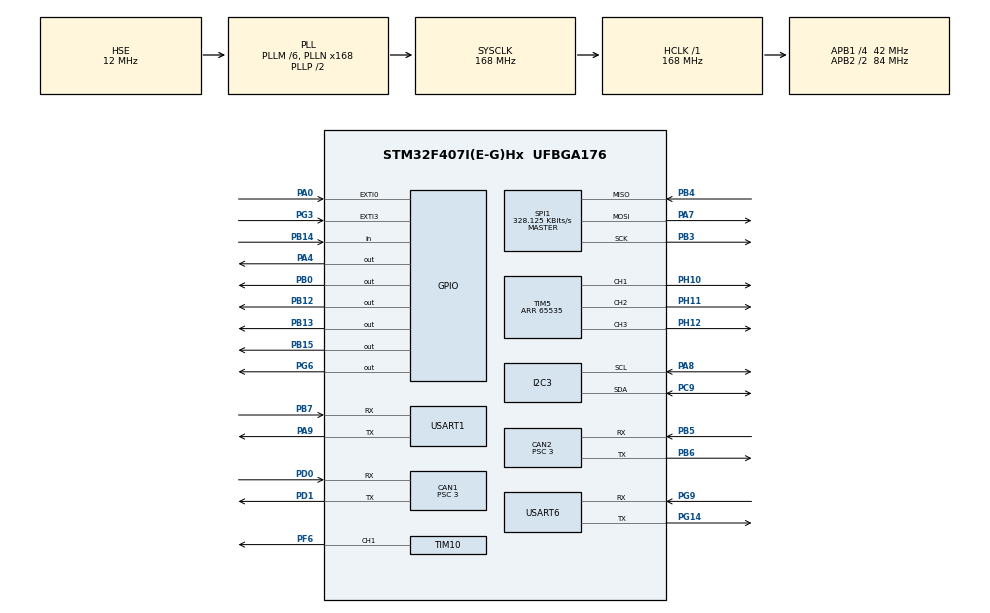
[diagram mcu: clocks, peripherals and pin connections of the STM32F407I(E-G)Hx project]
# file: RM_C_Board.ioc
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CAN1.BS1=CAN_BS1_10TQ
CAN1.BS2=CAN_BS2_3TQ
CAN1.CalculateBaudRate=1000000
CAN1.CalculateTimeBit=1000
CAN1.CalculateTimeQuantum=71.42857142857143
CAN1.Prescaler=3
CAN2.BS1=CAN_BS1_10TQ
CAN2.BS2=CAN_BS2_3TQ
CAN2.CalculateBaudRate=1000000
CAN2.CalculateTimeBit=1000
CAN2.CalculateTimeQuantum=71.42857142857143
CAN2.Prescaler=3
Dma.Request0=USART1_TX
Dma.Request1=USART6_TX
Dma.USART1_TX.0.Direction=DMA_MEMORY_TO_PERIPH
Dma.USART1_TX.0.FIFOMode=DMA_FIFOMODE_DISABLE
Dma.USART1_TX.0.Instance=DMA2_Stream7
Dma.USART1_TX.0.MemDataAlignment=DMA_MDATAALIGN_BYTE
Dma.USART1_TX.0.MemInc=DMA_MINC_ENABLE
Dma.USART1_TX.0.Mode=DMA_NORMAL
Dma.USART1_TX.0.PeriphDataAlignment=DMA_PDATAALIGN_BYTE
Dma.USART1_TX.0.PeriphInc=DMA_PINC_DISABLE
Dma.USART1_TX.0.Priority=DMA_PRIORITY_VERY_HIGH
Dma.USART6_TX.1.Direction=DMA_MEMORY_TO_PERIPH
Dma.USART6_TX.1.FIFOMode=DMA_FIFOMODE_DISABLE
Dma.USART6_TX.1.Instance=DMA2_Stream6
Dma.USART6_TX.1.MemDataAlignment=DMA_MDATAALIGN_BYTE
Dma.USART6_TX.1.MemInc=DMA_MINC_ENABLE
Dma.USART6_TX.1.Mode=DMA_NORMAL
Dma.USART6_TX.1.PeriphDataAlignment=DMA_PDATAALIGN_BYTE
Dma.USART6_TX.1.PeriphInc=DMA_PINC_DISABLE
Dma.USART6_TX.1.Priority=DMA_PRIORITY_VERY_HIGH
Mcu.Family=STM32F4
Mcu.Name=STM32F407I(E-G)Hx
Mcu.Package=UFBGA176
NVIC.CAN1_RX0_IRQn=true\:0\:0\:false\:false\:true\:true\:true\:true
NVIC.DMA2_Stream6_IRQn=true\:0\:0\:false\:false\:true\:false\:true\:true
NVIC.DMA2_Stream7_IRQn=true\:0\:0\:false\:false\:true\:false\:true\:true
NVIC.EXTI0_IRQn=true\:0\:0\:false\:false\:true\:true\:true\:true
NVIC.EXTI3_IRQn=true\:0\:0\:false\:false\:true\:true\:true\:true
NVIC.PriorityGroup=NVIC_PRIORITYGROUP_4
NVIC.TIM1_UP_TIM10_IRQn=true\:0\:0\:false\:false\:true\:true\:true\:true
NVIC.TIM4_IRQn=true\:0\:0\:false\:false\:true\:true\:true\:true
NVIC.TIM8_UP_TIM13_IRQn=true\:0\:0\:false\:false\:true\:true\:true\:true
NVIC.USART1_IRQn=true\:0\:0\:false\:false\:true\:true\:true\:true
NVIC.USART6_IRQn=true\:0\:0\:false\:false\:true\:true\:true\:true
PA0-WKUP.GPIO_ModeDefaultEXTI=GPIO_MODE_IT_FALLING
PA0-WKUP.GPIO_PuPd=GPIO_PULLUP
PA0-WKUP.Signal=GPXTI0
PA13.Mode=Serial_Wire
PA13.Signal=SYS_JTMS-SWDIO
PA14.Mode=Serial_Wire
PA14.Signal=SYS_JTCK-SWCLK
PA4.Signal=GPIO_Output
PA7.Mode=Full_Duplex_Master
PA7.Signal=SPI1_MOSI
PA8.Mode=I2C
PA8.Signal=I2C3_SCL
PA9.Mode=Asynchronous
PA9.Signal=USART1_TX
PB0.Signal=GPIO_Output
PB12.GPIO_PuPd=GPIO_NOPULL
PB12.Signal=GPIO_Output
PB13.GPIO_PuPd=GPIO_NOPULL
PB13.Signal=GPIO_Output
PB14.GPIO_PuPd=GPIO_PULLUP
PB14.Signal=GPIO_Input
PB15.GPIO_PuPd=GPIO_NOPULL
PB15.Signal=GPIO_Output
PB3.Mode=Full_Duplex_Master
PB3.Signal=SPI1_SCK
PB4.Mode=Full_Duplex_Master
PB4.Signal=SPI1_MISO
PB5.Mode=CAN_Activate
PB5.Signal=CAN2_RX
PB6.Mode=CAN_Activate
PB6.Signal=CAN2_TX
PB7.Mode=Asynchronous
PB7.Signal=USART1_RX
PC9.Mode=I2C
PC9.Signal=I2C3_SDA
PD0.Mode=CAN_Activate
PD0.Signal=CAN1_RX
PD1.Mode=CAN_Activate
PD1.Signal=CAN1_TX
PF6.Signal=S_TIM10_CH1
PG14.Mode=Asynchronous
PG14.Signal=USART6_TX
PG3.Signal=GPXTI3
PG6.Signal=GPIO_Output
PG9.Mode=Asynchronous
PG9.Signal=USART6_RX
PH0-OSC_IN.Mode=HSE-External-Oscillator
PH0-OSC_IN.Signal=RCC_OSC_IN
PH1-OSC_OUT.Mode=HSE-External-Oscillator
PH1-OSC_OUT.Signal=RCC_OSC_OUT
PH10.Signal=S_TIM5_CH1
PH11.Signal=S_TIM5_CH2
PH12.Signal=S_TIM5_CH3
ProjectManager.HeapSize=0x200
ProjectManager.StackSize=0x400
ProjectManager.TargetToolchain=MDK-ARM V5.32
RCC.48MHZClocksFreq_Value=84000000
RCC.AHBFreq_Value=168000000
RCC.APB1CLKDivider=RCC_HCLK_DIV4
RCC.APB1Freq_Value=42000000
RCC.APB1TimFreq_Value=84000000
RCC.APB2CLKDivider=RCC_HCLK_DIV2
RCC.APB2Freq_Value=84000000
RCC.APB2TimFreq_Value=168000000
RCC.CortexFreq_Value=168000000
RCC.HCLKFreq_Value=168000000
RCC.HSE_VALUE=12000000
RCC.HSI_VALUE=16000000
RCC.LSE_VALUE=32768
RCC.PLLM=6
RCC.PLLN=168
RCC.PLLSourceVirtual=RCC_PLLSOURCE_HSE
RCC.SYSCLKFreq_VALUE=168000000
RCC.SYSCLKSource=RCC_SYSCLKSOURCE_PLLCLK
RCC.VCOOutputFreq_Value=336000000
SH.S_TIM10_CH1.0=TIM10_CH1,PWM Generation1 CH1
SH.S_TIM5_CH1.0=TIM5_CH1,PWM Generation1 CH1
SH.S_TIM5_CH2.0=TIM5_CH2,PWM Generation2 CH2
SH.S_TIM5_CH3.0=TIM5_CH3,PWM Generation3 CH3
SPI1.BaudRatePrescaler=SPI_BAUDRATEPRESCALER_256
SPI1.CLKPhase=SPI_PHASE_2EDGE
SPI1.CLKPolarity=SPI_POLARITY_HIGH
SPI1.CalculateBaudRate=328.125 KBits/s
SPI1.Direction=SPI_DIRECTION_2LINES
SPI1.Mode=SPI_MODE_MASTER
SPI1.VirtualType=VM_MASTER
TIM1.Period=10-1
TIM1.Prescaler=16800-1
TIM10.Channel=TIM_CHANNEL_1
TIM10.Period=4999
TIM4.Period=10-1
TIM4.Prescaler=16800-1
TIM5.Channel-PWM\ Generation1\ CH1=TIM_CHANNEL_1
TIM5.Channel-PWM\ Generation2\ CH2=TIM_CHANNEL_2
TIM5.Channel-PWM\ Generation3\ CH3=TIM_CHANNEL_3
TIM5.Period=65535
TIM8.Period=10-1
TIM8.Prescaler=16800-1
USART1.VirtualMode=VM_ASYNC
USART6.VirtualMode=VM_ASYNC
VP_TIM10_VS_ClockSourceINT.Mode=Enable_Timer
VP_TIM1_VS_ClockSourceINT.Mode=Internal
VP_TIM4_VS_ClockSourceINT.Mode=Internal
VP_TIM5_VS_ClockSourceINT.Mode=Internal
VP_TIM8_VS_ClockSourceINT.Mode=Internal
board=custom

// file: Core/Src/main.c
/* USER CODE BEGIN Header */
/**
  ******************************************************************************
  * @file           : main.c
  * @brief          : Main program body
  ******************************************************************************
  * @attention
  *
  * Copyright (c) 2023 STMicroelectronics.
  * All rights reserved.
  *
  * This software is licensed under terms that can be found in the LICENSE file
  * in the root directory of this software component.
  * If no LICENSE file comes with this software, it is provided AS-IS.
  *
  ******************************************************************************
  */
/* USER CODE END Header */
#include "main.h"
#include "can.h"
#include "dma.h"
#include "i2c.h"
#include "spi.h"
#include "tim.h"
#include "usart.h"
#include "gpio.h"

/* USER CODE BEGIN Includes */

#include "headfile.h"

/* USER CODE END Includes */

/* USER CODE BEGIN PV */

extern int stop_flag; // KEY Button
extern FusionAhrs ahrs;

/* USER CODE END PV */

void SystemClock_Config(void);
/* USER CODE BEGIN PFP */
void VOFA_Print();

/* USER CODE END PFP */

int main(void)
{

  /* MCU Configuration--------------------------------------------------------*/

  /* Reset of all peripherals, Initializes the Flash interface and the Systick. */
  HAL_Init();

  /* Configure the system clock */
  SystemClock_Config();

  /* Initialize all configured peripherals */
  MX_GPIO_Init();
  MX_DMA_Init();
  MX_CAN1_Init();
  MX_CAN2_Init();
  MX_USART1_UART_Init();
  MX_TIM1_Init();
  MX_TIM8_Init();
  MX_TIM4_Init();
  MX_TIM5_Init();
  MX_TIM10_Init();
  MX_I2C3_Init();
  MX_SPI1_Init();
  MX_USART6_UART_Init();
  /* USER CODE BEGIN 2 */
	Init_all();
	clrStruct();

	TaskAdd(VOFA_Print, 20); // 50Hz Print to VOFA
	TaskAdd(Speed_set, 5); // 200Hz for wheel PID
	TaskAdd(IMU_update, IMUdeltaTime * 1000); // 1000Hz for updating IMU and print delta time // TaskPrintDeltaTime( TaskAdd(IMU_update, 1) );

	TaskAdd(Joystick_motor_control, 20); // 50Hz
	TaskAdd(ParseGpsBuffer, 100); // 10Hz

  /* USER CODE END 2 */

  /* Infinite loop */
  while (1)
  {

    /* USER CODE BEGIN 3 */

		if(stop_flag)  // Stop Driving when stop_flag is true
		{
			// led_red_blink();
		}
		else
		{
			//led_green_start();
			//run_my_sweep();
			TaskRun();
		}
  }

  /* USER CODE END 3 */
}

void SystemClock_Config(void)
{
  RCC_OscInitTypeDef RCC_OscInitStruct = {0};
  RCC_ClkInitTypeDef RCC_ClkInitStruct = {0};

  /** Configure the main internal regulator output voltage
  */
  __HAL_RCC_PWR_CLK_ENABLE();
  __HAL_PWR_VOLTAGESCALING_CONFIG(PWR_REGULATOR_VOLTAGE_SCALE1);

  /** Initializes the RCC Oscillators according to the specified parameters
  * in the RCC_OscInitTypeDef structure.
  */
  RCC_OscInitStruct.OscillatorType = RCC_OSCILLATORTYPE_HSE;
  RCC_OscInitStruct.HSEState = RCC_HSE_ON;
  RCC_OscInitStruct.PLL.PLLState = RCC_PLL_ON;
  RCC_OscInitStruct.PLL.PLLSource = RCC_PLLSOURCE_HSE;
  RCC_OscInitStruct.PLL.PLLM = 6;
  RCC_OscInitStruct.PLL.PLLN = 168;
  RCC_OscInitStruct.PLL.PLLP = RCC_PLLP_DIV2;
  RCC_OscInitStruct.PLL.PLLQ = 4;
  if (HAL_RCC_OscConfig(&RCC_OscInitStruct) != HAL_OK)
  {
    Error_Handler();
  }

  /** Initializes the CPU, AHB and APB buses clocks
  */
  RCC_ClkInitStruct.ClockType = RCC_CLOCKTYPE_HCLK|RCC_CLOCKTYPE_SYSCLK
                              |RCC_CLOCKTYPE_PCLK1|RCC_CLOCKTYPE_PCLK2;
  RCC_ClkInitStruct.SYSCLKSource = RCC_SYSCLKSOURCE_PLLCLK;
  RCC_ClkInitStruct.AHBCLKDivider = RCC_SYSCLK_DIV1;
  RCC_ClkInitStruct.APB1CLKDivider = RCC_HCLK_DIV4;
  RCC_ClkInitStruct.APB2CLKDivider = RCC_HCLK_DIV2;

  if (HAL_RCC_ClockConfig(&RCC_ClkInitStruct, FLASH_LATENCY_5) != HAL_OK)
  {
    Error_Handler();
  }
}

/* USER CODE BEGIN 4 */

extern float gyro[], accel[];
extern FusionOffset offset;
extern FusionVector gyroscope;
extern FusionVector accelerometer;
extern FusionVector magnetometer;
float real_vcx;
float real_w;    //clockwise stands for minus

void VOFA_Print(){
	const FusionEuler euler = FusionQuaternionToEuler(FusionAhrsGetQuaternion(&ahrs));
	const FusionVector LinearAcc = FusionAhrsGetLinearAcceleration(&ahrs);
	// const FusionVector EarthAcc = FusionAhrsGetEarthAcceleration(&ahrs);

	MOTORrpm2vw(motor_chassis[0].speed_rpm,-motor_chassis[2].speed_rpm,&real_vcx,&real_w);
	LongLat2XY(Convert_to_degrees(Save_Data.longitude),Convert_to_degrees(Save_Data.latitude),&gps_X,&gps_Y);
	LongLat2XY(120.742925,31.268221,&gps_X0,&gps_Y0);

	// Print to VOFA+
//	usart_printf("%f,%f,%f,%f,%f,%f,%f,%f,%f,%f,%f,%f\n",
//			gyroscope.axis.x, gyroscope.axis.y, gyroscope.axis.z,
//			acc_x_avg, acc_y_avg, acc_z_avg,
//			magnetometer.axis.x, magnetometer.axis.y, magnetometer.axis.z,
//			euler.angle.roll, euler.angle.pitch, euler.angle.yaw
//	);

usart_printf("%lf,%lf,%d,%d,%d,%d,%f,%f,%f,%f,%f,%f,%f,%f,%f\n",
			Convert_to_degrees(Save_Data.latitude),
			Convert_to_degrees(Save_Data.longitude),
			motor_chassis[0].speed_rpm,
			motor_chassis[1].speed_rpm,
			-motor_chassis[2].speed_rpm,
			-motor_chassis[3].speed_rpm,
			real_vcx,
			real_w,
			gyro[2],
			euler.angle.roll,
			euler.angle.pitch,
			euler.angle.yaw,
			LinearAcc.axis.x,
			gps_X-gps_X0,
			gps_Y-gps_Y0
			);
	// usart_printf("%0.3f,%0.3f,%0.3f\n", euler.angle.roll, euler.angle.pitch, euler.angle.yaw);
//	 PrintGpsBuffer();
}

/* USER CODE END 4 */

void Error_Handler(void)
{
  __disable_irq();
  while (1)
  {
  }
}
